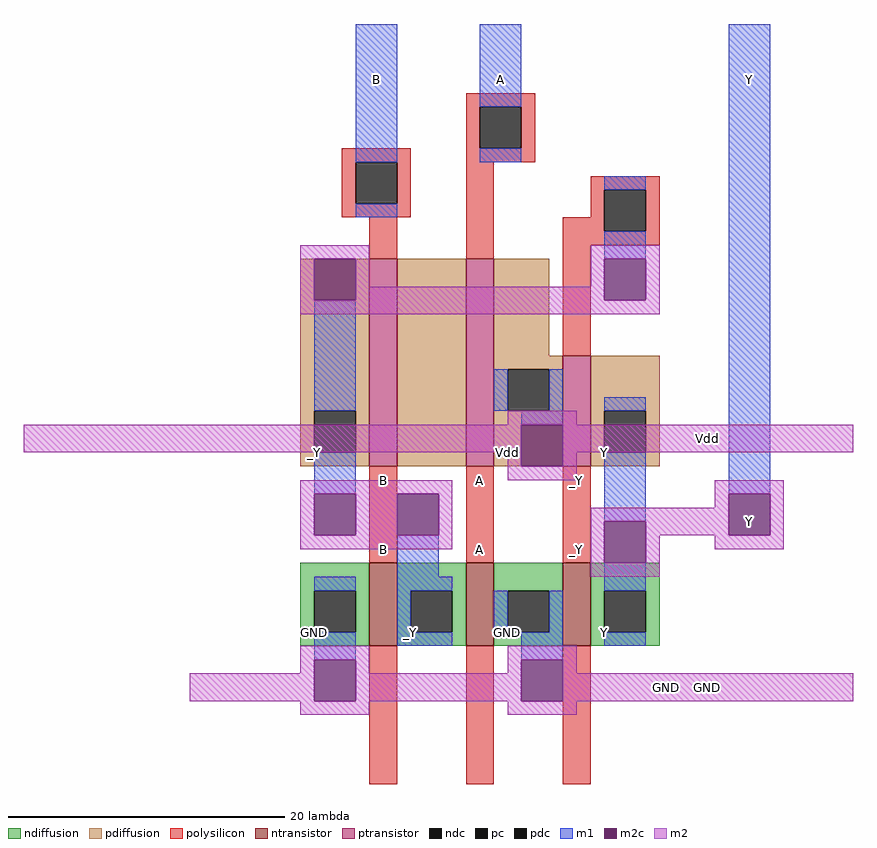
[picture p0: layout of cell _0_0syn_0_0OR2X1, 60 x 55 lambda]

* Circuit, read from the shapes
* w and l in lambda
.subckt _0_0syn_0_0OR2X1 A B GND Vdd Y _Y
M1 _Y B GND VSUBS nfet w=6 l=2
M2 GND A _Y VSUBS nfet w=6 l=2
M3 Y _Y GND VSUBS nfet w=6 l=2
M4 n1 B _Y NWELL pfet w=15 l=2
M5 Vdd A n1 NWELL pfet w=15 l=2
M6 Y _Y Vdd NWELL pfet w=8 l=2
.ends

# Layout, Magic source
magic
tech sky130l
<< ndiffusion >>
rect 8 10 13 12
rect 8 7 9 10
rect 12 7 13 10
rect 8 6 13 7
rect 15 10 20 12
rect 15 7 16 10
rect 19 7 20 10
rect 15 6 20 7
rect 22 10 27 12
rect 22 7 23 10
rect 26 7 27 10
rect 22 6 27 7
rect 29 10 34 12
rect 29 7 30 10
rect 33 7 34 10
rect 29 6 34 7
<< ndc >>
rect 9 7 12 10
rect 16 7 19 10
rect 23 7 26 10
rect 30 7 33 10
<< ntransistor >>
rect 13 6 15 12
rect 20 6 22 12
rect 27 6 29 12
<< pdiffusion >>
rect 8 23 13 34
rect 8 20 9 23
rect 12 20 13 23
rect 8 19 13 20
rect 15 19 20 34
rect 22 27 26 34
rect 22 26 27 27
rect 22 23 23 26
rect 26 23 27 26
rect 22 19 27 23
rect 29 23 34 27
rect 29 20 30 23
rect 33 20 34 23
rect 29 19 34 20
<< pdc >>
rect 9 20 12 23
rect 23 23 26 26
rect 30 20 33 23
<< ptransistor >>
rect 13 19 15 34
rect 20 19 22 34
rect 27 19 29 27
<< polysilicon >>
rect 20 45 25 46
rect 20 42 21 45
rect 24 42 25 45
rect 11 41 16 42
rect 11 38 12 41
rect 15 38 16 41
rect 11 37 16 38
rect 20 41 25 42
rect 13 34 15 37
rect 20 34 22 41
rect 29 39 34 40
rect 29 37 30 39
rect 27 36 30 37
rect 33 36 34 39
rect 27 35 34 36
rect 27 27 29 35
rect 13 12 15 19
rect 20 12 22 19
rect 27 12 29 19
rect 13 -4 15 6
rect 20 -4 22 6
rect 27 -4 29 6
<< pc >>
rect 21 42 24 45
rect 12 38 15 41
rect 30 36 33 39
<< m1 >>
rect 12 41 15 51
rect 21 45 24 51
rect 21 41 24 42
rect 12 37 15 38
rect 30 39 33 40
rect 30 34 33 36
rect 9 23 12 31
rect 22 23 23 26
rect 26 23 27 26
rect 9 17 12 20
rect 24 22 27 23
rect 30 23 33 24
rect 15 11 18 14
rect 30 15 33 20
rect 39 17 42 51
rect 9 10 12 11
rect 9 5 12 7
rect 15 10 19 11
rect 30 10 33 12
rect 15 7 16 10
rect 22 7 23 10
rect 26 7 27 10
rect 15 6 19 7
rect 24 5 27 7
rect 30 6 33 7
<< m2c >>
rect 9 31 12 34
rect 30 31 33 34
rect 24 19 27 22
rect 9 14 12 17
rect 15 14 18 17
rect 30 12 33 15
rect 39 14 42 17
rect 9 2 12 5
rect 24 2 27 5
<< m2 >>
rect 8 34 13 35
rect 8 31 9 34
rect 12 32 13 34
rect 29 34 34 35
rect 29 32 30 34
rect 12 31 30 32
rect 33 31 34 34
rect 8 30 34 31
rect 23 22 28 23
rect -12 20 24 22
rect 23 19 24 20
rect 27 20 48 22
rect 27 19 28 20
rect 23 18 28 19
rect 8 17 19 18
rect 8 14 9 17
rect 12 14 15 17
rect 18 14 19 17
rect 38 17 43 18
rect 38 16 39 17
rect 8 13 19 14
rect 29 15 39 16
rect 29 12 30 15
rect 33 14 39 15
rect 42 14 43 17
rect 33 12 34 14
rect 38 13 43 14
rect 29 11 34 12
rect 8 5 13 6
rect 8 4 9 5
rect 0 2 9 4
rect 12 4 13 5
rect 23 5 28 6
rect 23 4 24 5
rect 12 2 24 4
rect 27 4 28 5
rect 27 2 48 4
rect 8 1 13 2
rect 23 1 28 2
<< labels >>
rlabel ndiffusion 30 7 30 7 3 Y
rlabel polysilicon 28 13 28 13 3 _Y
rlabel polysilicon 28 18 28 18 3 _Y
rlabel ndiffusion 23 7 23 7 3 GND
rlabel pdiffusion 23 20 23 20 3 Vdd
rlabel polysilicon 21 13 21 13 3 A
rlabel polysilicon 21 18 21 18 3 A
rlabel ndiffusion 16 7 16 7 3 _Y
rlabel polysilicon 14 13 14 13 3 B
rlabel polysilicon 14 18 14 18 3 B
rlabel ndiffusion 9 7 9 7 3 GND
rlabel pdiffusion 9 20 9 20 3 _Y
rlabel pdiffusion 30 20 30 20 3 Y
rlabel m2 33 2 36 4 8 GND
rlabel m2 36 20 39 22 7 Vdd
rlabel m2 36 2 39 4 7 GND
rlabel m1 21 46 24 48 5 A
rlabel m1 12 46 15 48 4 B
rlabel m2 39 14 42 16 7 Y
rlabel m1 39 46 42 48 5 Y
<< end >>
